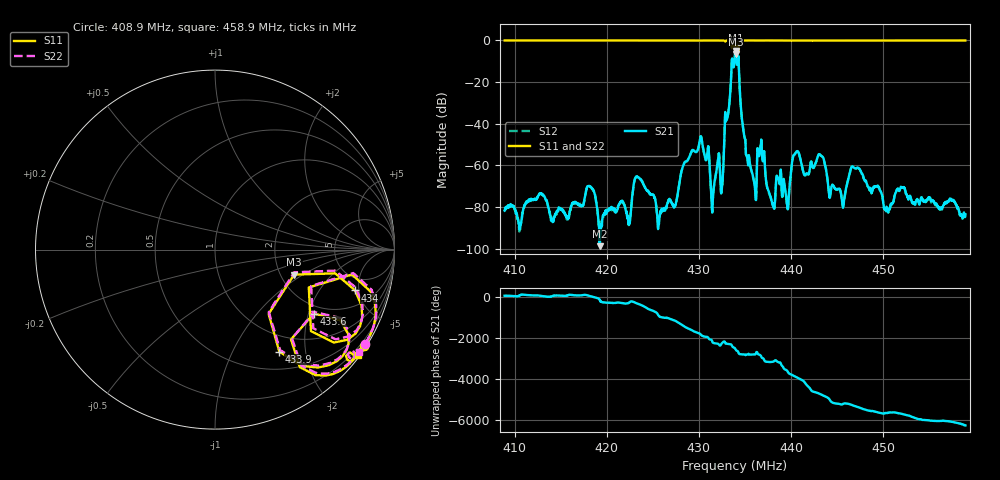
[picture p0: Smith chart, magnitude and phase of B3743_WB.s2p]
! S-parameter for B3743 in Touchstone format with magnitude (lin) and phase
! Normalised impedance: 50 Ohm. Measurement system: 50 Ohm Ta = 25°C
! B3743_WB.s2p not matched. Measurement full 2-port calibrated incl. Port ext.
! Start: 408.92MHz, Stop: 458.92MHz, Span: 50MHz, 1601 Pts., Step: 31.3kHz
! Date:22/02/08 Epcos SAW COM WT AE PD, AB
! Pinning according data sheet recommendation, In P1, Out P4, all others GND
# MHZ S MA R 50
! freq  magS11 angS11  magS21 angS21  magS12 angS12  magS22 angS22
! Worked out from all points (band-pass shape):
!   1601 points, 408.9 MHz to 458.9 MHz, reference 50 ohm
!   highest |S21| = -5.03 dB at 434 MHz (marker M1); lowest = -98.7 dB at 419.3 MHz (marker M2)
!   |S21| within 3 dB of the highest: 433.8995 MHz to 434.0371 MHz (137.6 kHz wide, 0.0317 % of centre); 434.2743 MHz to 434.2987 MHz (24.4 kHz wide, 0.00562 % of centre)
!   lowest |S11| = -6.7 dB at 434 MHz (marker M3), VSWR 2.72, Z = 118 - j41.9 ohm
!   |S11| at or under -10 dB: nowhere
!   |S22| runs from -6.8 to -0.1 dB; largest |S21 - S12| = 0.0022
!   S11 on the Smith chart (normalised r, x): 408.9 MHz: 0.06, -3.39; 433.6 MHz: 1.73, -2.17; 433.9 MHz: 0.75, -1.55; 434 MHz: 3.39, -4.57; 458.9 MHz: 0.05, -3.04
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408.92  0.9911 -32.9  8.237e-05 56.9  8.766e-05 57.7  0.9885 -32.1
417.2638  0.9908 -33.7  0.0001084 77.0  0.0001044 79.4  0.988 -32.8
419.2638  0.9905 -33.8  1.158e-05 -140.1  1.591e-05 -168.0  0.9881 -33.0
422.4513  0.9904 -34.2  3.952e-05 86.1  4.116e-05 74.1  0.9877 -33.4
423.3263  0.9897 -34.3  0.0005237 30.8  0.000535 30.8  0.9872 -33.4
425.6075  0.9906 -34.6  3.464e-05 -172.0  3.506e-05 -174.9  0.9878 -33.7
430.17  0.9843 -35.5  0.004828 -24.1  0.004802 -24.0  0.981 -34.6
431.545  0.9897 -36.3  0.0001889 -85.5  0.0001877 -84.2  0.9868 -35.3
432.5138  0.9874 -37.8  0.000311 -97.2  0.0003062 -95.8  0.9847 -36.9
433.6075  0.656 -32.9  0.3674 112.3  0.3658 112.4  0.6534 -32.1
433.92  0.672 -57.8  0.4616 3.8  0.4598 3.9  0.6665 -57.1
433.9825  0.4621 -17.5  0.5604 -50.1  0.5588 -50.1  0.459 -16.0
434.045  0.8136 -16.2  0.375 -91.6  0.3731 -91.5  0.8109 -15.1
436.0138  0.9903 -32.9  0.000382 62.3  0.0003794 62.1  0.9875 -32.0
436.5763  0.9901 -33.4  0.001769 54.4  0.001761 54.4  0.9872 -32.5
438.0138  0.9902 -34.1  0.0001208 68.2  0.0001092 71.5  0.9872 -33.2
438.67  0.9893 -34.4  0.0004668 40.1  0.0004662 39.0  0.9866 -33.4
439.6388  0.9879 -34.7  8.885e-05 -54.3  9.006e-05 -52.1  0.9847 -33.8
440.5138  0.9842 -34.6  0.002036 51.3  0.00203 51.4  0.9819 -33.7
442.2638  0.9775 -34.7  0.001038 74.2  0.001039 74.2  0.9734 -33.8
450.6075  0.9894 -35.6  8.432e-05 97.1  8.563e-05 97.6  0.986 -34.7
458.92  0.9898 -36.4  6.771e-05 -163.9  6.739e-05 -161.3  0.9864 -35.4
